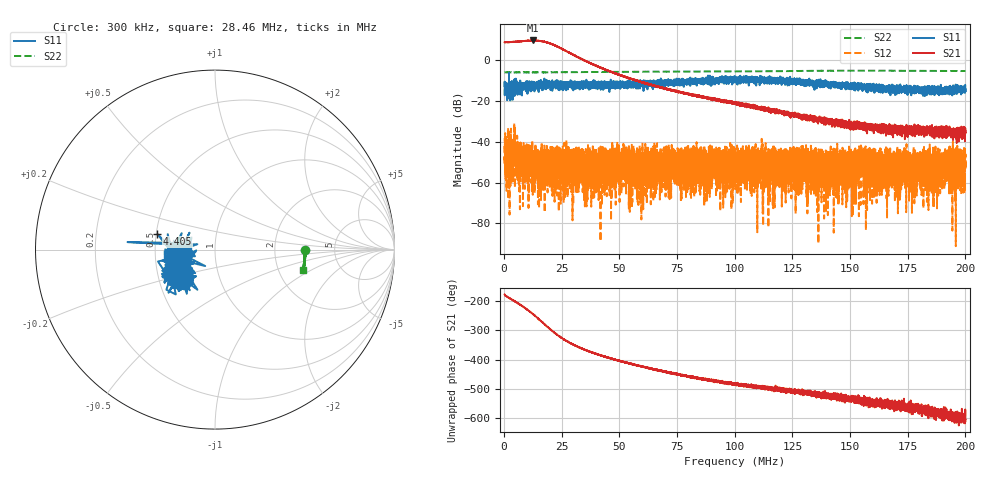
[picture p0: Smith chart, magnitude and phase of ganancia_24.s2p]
# Hz S DB R 50
! CMT, M5065, 19127446, 24.2.4/2
! Date: 11/8/2024 2:57:36 PM
! Data: Format (Calibration Info)
! Freq	S11:dB/Ang(F2)	S21:dB/Ang(F2)	S12:dB/Ang(F2)	S22:dB/Ang(F2)
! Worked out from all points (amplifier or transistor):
!   9000 points, 300 kHz to 200 MHz, reference 50 ohm
!   highest |S21| = 9.6 dB at 12.55 MHz (marker M1)
!   |S21| within 3 dB of that: start of sweep to 23.13 MHz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
!   unconditionally stable (mu >= 1): start of sweep to end of sweep
!   at 33.59 MHz: K = 110.29, MAG = 2.2 dB, |S12| = -50.7 dB
!   at 100.2 MHz: K = 2206.68, MAG = -19.7 dB, |S12| = -55.1 dB
!   at 200 MHz: K = 7789.83, MAG = -32.1 dB, |S12| = -53.4 dB
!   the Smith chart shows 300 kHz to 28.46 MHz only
!   S11 on the Smith chart (normalised r, x): 300 kHz: 0.63, -0.09; 4.405 MHz: 0.51, +0.10; 28.46 MHz: 0.67, -0.28
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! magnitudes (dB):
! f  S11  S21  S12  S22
! 300 kHz  -12.7  8.7  -42.1  -6.0
! 1.676 MHz  -15.2  8.8  -42.9  -6.0
! 4.405 MHz  -9.6  8.9  -44.0  -6.0
! 7.246 MHz  -14.3  9.3  -53.8  -6.0
! 12.55 MHz  -11.2  9.6  -46.8  -6.0
! 28.46 MHz  -11.8  3.5  -52.9  -5.9
! 33.59 MHz  -11.3  0.6  -50.7  -5.9
! 40.04 MHz  -12.4  -2.9  -58.4  -5.8
! 43.55 MHz  -12.6  -4.5  -56.9  -5.8
! 48.3 MHz  -11.3  -6.5  -55.2  -5.8
! 51.63 MHz  -11.1  -7.8  -50.7  -5.7
! 54.82 MHz  -11.7  -9.1  -51.2  -5.7
! 58 MHz  -12.3  -10.2  -47.4  -5.7
! 66.87 MHz  -11.4  -13.0  -51.1  -5.7
! 100.2 MHz  -9.7  -21.6  -55.1  -5.6
! 133.4 MHz  -11.6  -28.6  -45.1  -5.3
! 166.7 MHz  -13.6  -34.0  -51.7  -5.2
! 177.2 MHz  -14.8  -35.3  -45.1  -5.2
! 179.2 MHz  -15.0  -33.9  -52.6  -5.3
! 187.3 MHz  -14.6  -34.8  -44.7  -5.3
! 192.2 MHz  -14.8  -34.8  -55.5  -5.3
! 200 MHz  -15.2  -33.7  -53.4  -5.4
